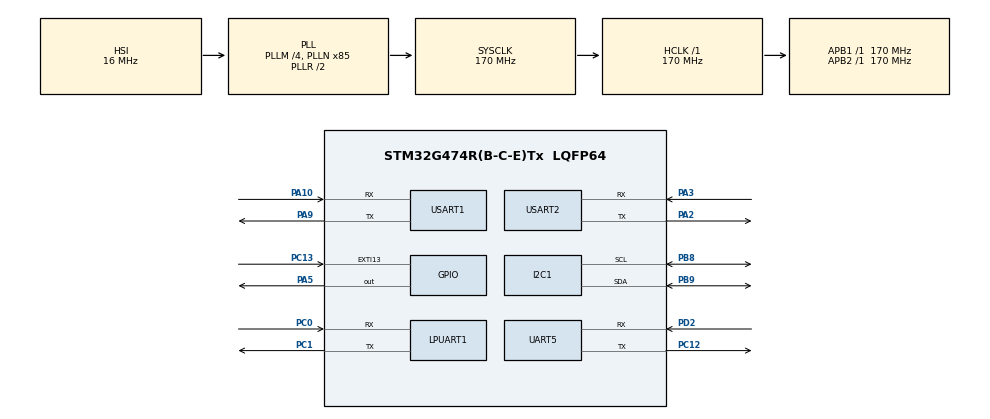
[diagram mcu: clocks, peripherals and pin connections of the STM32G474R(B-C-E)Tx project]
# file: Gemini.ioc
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I2C1.Timing=0x40B285C2
Mcu.Family=STM32G4
Mcu.Name=STM32G474R(B-C-E)Tx
Mcu.Package=LQFP64
NUCLEO-G474RE.BUTTON=1
NUCLEO-G474RE.LD2=true
NUCLEO-G474RE.VCP=false
NVIC.EXTI15_10_IRQn=true\:0\:0\:false\:false\:true\:true\:true\:true
NVIC.PriorityGroup=NVIC_PRIORITYGROUP_4
NVIC.UART5_IRQn=true\:0\:0\:false\:false\:true\:true\:true\:true
NVIC.USART1_IRQn=true\:0\:0\:false\:false\:true\:true\:true\:true
PA10.GPIO_Speed=GPIO_SPEED_FREQ_HIGH
PA10.Mode=Asynchronous
PA10.Signal=USART1_RX
PA13.GPIO_Label=T_SWDIO
PA13.Signal=SYS_JTMS-SWDIO
PA14.GPIO_Label=T_SWCLK
PA14.Signal=SYS_JTCK-SWCLK
PA2.Mode=Asynchronous
PA2.Signal=USART2_TX
PA3.Mode=Asynchronous
PA3.Signal=USART2_RX
PA5.Signal=GPIO_Output
PA9.GPIO_Speed=GPIO_SPEED_FREQ_HIGH
PA9.Mode=Asynchronous
PA9.Signal=USART1_TX
PB3.GPIO_Label=T_SWO
PB3.Signal=SYS_JTDO-SWO
PB8-BOOT0.GPIO_Pu=GPIO_NOPULL
PB8-BOOT0.Mode=I2C
PB8-BOOT0.Signal=I2C1_SCL
PB9.GPIO_Pu=GPIO_NOPULL
PB9.Mode=I2C
PB9.Signal=I2C1_SDA
PC0.Mode=Asynchronous
PC0.Signal=LPUART1_RX
PC1.Mode=Asynchronous
PC1.Signal=LPUART1_TX
PC12.Mode=Asynchronous
PC12.Signal=UART5_TX
PC13.Signal=GPXTI13
PC14-OSC32_IN.GPIO_Label=RCC_OSC32_IN
PC14-OSC32_IN.Mode=LSE-External-Oscillator
PC14-OSC32_IN.Signal=RCC_OSC32_IN
PC15-OSC32_OUT.GPIO_Label=RCC_OSC32_OUT
PC15-OSC32_OUT.Mode=LSE-External-Oscillator
PC15-OSC32_OUT.Signal=RCC_OSC32_OUT
PD2.Mode=Asynchronous
PD2.Signal=UART5_RX
PF0-OSC_IN.GPIO_Label=RCC_OSC_IN
PF0-OSC_IN.Mode=HSE-External-Oscillator
PF0-OSC_IN.Signal=RCC_OSC_IN
PF1-OSC_OUT.GPIO_Label=RCC_OSC_OUT
PF1-OSC_OUT.Mode=HSE-External-Oscillator
PF1-OSC_OUT.Signal=RCC_OSC_OUT
ProjectManager.HeapSize=0x200
ProjectManager.StackSize=0x400
ProjectManager.TargetToolchain=STM32CubeIDE
RCC.ADC12Freq_Value=170000000
RCC.ADC345Freq_Value=170000000
RCC.AHBFreq_Value=170000000
RCC.APB1Freq_Value=170000000
RCC.APB1TimFreq_Value=170000000
RCC.APB2Freq_Value=170000000
RCC.APB2TimFreq_Value=170000000
RCC.CortexFreq_Value=170000000
RCC.EXTERNAL_CLOCK_VALUE=12288000
RCC.HCLKFreq_Value=170000000
RCC.HSE_VALUE=24000000
RCC.HSI48_VALUE=48000000
RCC.HSI_VALUE=16000000
RCC.PLLM=RCC_PLLM_DIV4
RCC.PLLN=85
RCC.RTCClockSelection=RCC_RTCCLKSOURCE_LSE
RCC.SYSCLKFreq_VALUE=170000000
RCC.SYSCLKSource=RCC_SYSCLKSOURCE_PLLCLK
RCC.USBFreq_Value=170000000
RCC.VCOOutputFreq_Value=340000000
USART1.VirtualMode-Asynchronous=VM_ASYNC
USART2.VirtualMode-Asynchronous=VM_ASYNC
VP_NUCLEO-G474RE_VS_BSP_COMMON.Mode=COMMON
VP_SYS_VS_DBSignals.Mode=DisableDeadBatterySignals
board=NUCLEO-G474RE

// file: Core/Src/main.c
/* USER CODE BEGIN Header */
/**
  ******************************************************************************
  * @file           : main.c
  * @brief          : Main program body
  ******************************************************************************
  * @attention
  *
  * Copyright (c) 2025 STMicroelectronics.
  * All rights reserved.
  *
  * This software is licensed under terms that can be found in the LICENSE file
  * in the root directory of this software component.
  * If no LICENSE file comes with this software, it is provided AS-IS.
  *
  ******************************************************************************
  */
/* USER CODE END Header */
#include "main.h"

/* USER CODE BEGIN Includes */
#include <string.h>
#include <stdio.h>
#include "ssd1306/ssd1306.h"
#include "ssd1306/ssd1306_fonts.h"
/* USER CODE END Includes */

/* USER CODE BEGIN PD */
#define REG_TEMP		   0x00
#define REG_CONF           0x01
#define REG_THYST          0x02
#define REG_TOS            0x03
#define LM75A_TEMP_TO_REG(T) \
    ((uint16_t)((int16_t)roundf((T) * 2.0f)) << 7)

/* USER CODE END PD */

I2C_HandleTypeDef hi2c1;

UART_HandleTypeDef hlpuart1;
UART_HandleTypeDef huart5;
UART_HandleTypeDef huart1;
UART_HandleTypeDef huart2;

/* USER CODE BEGIN PV */
static const uint8_t LM75A = 0x48 << 1;

// Stati del sistema
typedef enum {
    STATE_NORMAL,
    STATE_WAIT_RESPONSE,
    STATE_RESPONSE_RECEIVED,
    STATE_POST_RESPONSE_WAIT
} SystemState_t;

volatile SystemState_t system_state = STATE_NORMAL;
volatile uint8_t rx_data_ready = 1;
uint8_t  rxBuf[8];
uint32_t postResponseTick;

static const char alarmMsg[] = "FRALRM\r\n";
static const uint8_t alarmLen = sizeof(alarmMsg) - 1;  // 13

/* USER CODE END PV */

void SystemClock_Config(void);
static void MX_GPIO_Init(void);
static void MX_I2C1_Init(void);
static void MX_USART2_UART_Init(void);
static void MX_USART1_UART_Init(void);
static void MX_UART5_Init(void);
static void MX_LPUART1_UART_Init(void);

/* USER CODE BEGIN 0 */

// Routine per scrivere un byte
static HAL_StatusTypeDef LM75A_WriteByte(uint8_t reg, uint8_t data) {
    return HAL_I2C_Mem_Write(
        &hi2c1,
        LM75A,
        reg,
        I2C_MEMADD_SIZE_8BIT,
        &data,
        1,
        100  /* timeout ms */
    );
}

// Routine per scrivere due byte
static HAL_StatusTypeDef LM75A_WriteWord(uint8_t reg, uint16_t value) {
    uint8_t buf[2];
    buf[0] = (value >> 8) & 0xFF;  // MSB
    buf[1] = value & 0xFF;         // LSB (“don’t care” bits = 0)
    return HAL_I2C_Mem_Write(
        &hi2c1,
        LM75A,
        reg,
        I2C_MEMADD_SIZE_8BIT,
        buf,
        2,
        100
    );
}

// Routine di configurazione LM75A
void LM75A_Init(void) {
    HAL_StatusTypeDef ret;

    /* 1) Config register:
         *    OS_F_QUE = 10 (4 conversions) → B4=1, B3=0
         *    OS_POL   = 1 (active-high)   → B2=1
         *    OS_COMP_INT = 1 (interrupt)  → B1=1
         *    SHUTDOWN    = 0 (normal)     → B0=0
         *    byte = 0b0001_0110 = 0x16
    */

	ret = LM75A_WriteByte(REG_CONF, 0x16);
	if (ret != HAL_OK) { Error_Handler(); }

    /* 2) TOS = 35°C ⇒ 35/0.5 = 70 = 0x46 */
    /*    value register = 0x46 << 8 = 0x4600 */

	// Temperatura per prova: 32 °C / 0.5 °C = 64  → 0x40
	uint16_t temp_max = LM75A_TEMP_TO_REG(30.0f);
    ret = LM75A_WriteWord(REG_TOS, temp_max);
    if (ret != HAL_OK) { Error_Handler(); }

    /* 3) THYST = 30°C ⇒ 30/0.5 = 60 = 0x3C ⇒ 0x3C00 */
    uint16_t temp_min = LM75A_TEMP_TO_REG(28.0f);
    ret = LM75A_WriteWord(REG_THYST, temp_min);
    if (ret != HAL_OK) { Error_Handler(); }
}

/*
// Ridefinizione funzione di CallBack interrupt su EXTI0
void HAL_GPIO_EXTI_Callback(uint16_t GPIO_Pin) {
    if (GPIO_Pin == GPIO_PIN_0) {
        // Togliere l’interrupt leggendo un registro qualunque (ad es. Temp)
    	char temp_s[10];
    	uint8_t msg[32];
        uint8_t temp_raw[2];
        int len;
        if (HAL_I2C_Mem_Read(&hi2c1, LM75A, 0x00, I2C_MEMADD_SIZE_8BIT, temp_raw, 2, 100) == HAL_OK) {
            int16_t raw = (temp_raw[0] << 8) | temp_raw[1];
            // float temp = raw * 0.0078125f;  // 1/128
            raw = raw >> 5;
            float temp = (float)raw * 0.125f;

            // gestisci l’allerta…
            len = snprintf((char*)msg, sizeof(msg), "Interruzione: %.2f C\r\n", temp);
            HAL_UART_Transmit(&huart2, msg, len, HAL_MAX_DELAY);
            // HAL_Delay(1000);

            sprintf(temp_s, "%.2f", temp);
            ssd1306_SetCursor(2, 32);
			ssd1306_WriteString(temp_s, Font_6x8, Black);
			ssd1306_UpdateScreen();

        }
    }
}*/

// Ridefinizione Callback di ricezione UART (interrupt)
void HAL_UART_RxCpltCallback(UART_HandleTypeDef *huart) {
    // if (huart->Instance == USART1 && system_state == STATE_WAIT_RESPONSE) {
	// if (huart->Instance == USART1) {
	if (huart->Instance == USART1) {
        // terminatore stringa
        //rxBuf[8] = '\0';
        system_state = STATE_RESPONSE_RECEIVED;
        rx_data_ready = 1;

        // Preparazione USART prossima ricezione
        HAL_UART_Receive_IT(&huart1, rxBuf, 8);
    }
}
/* USER CODE END 0 */

int main(void)
{

  /* USER CODE BEGIN 1 */
  uint8_t buf[12];
  HAL_StatusTypeDef ret, check;
  int16_t val;
  float temp_c;
  uint8_t msg[32];
  int len;
  uint8_t data_read[2];
  char temp_s[10];
  int cont = 0;
  float soglia = 30.0f;
  /* USER CODE END 1 */

  /* MCU Configuration--------------------------------------------------------*/

  /* Reset of all peripherals, Initializes the Flash interface and the Systick. */
  HAL_Init();

  /* Configure the system clock */
  SystemClock_Config();

  /* Initialize all configured peripherals */
  MX_GPIO_Init();
  MX_I2C1_Init();
  MX_USART2_UART_Init();
  MX_USART1_UART_Init();
  MX_UART5_Init();
  MX_LPUART1_UART_Init();
  /* USER CODE BEGIN 2 */
  HAL_NVIC_SetPriority(USART1_IRQn, 1, 0);
  HAL_NVIC_EnableIRQ(USART1_IRQn);

  // Preparazione USART
  // __HAL_UART_ENABLE_IT(&huart1,UART_IT_RXNE);
  HAL_UART_Receive_IT(&huart1, rxBuf, 8);
  LM75A_Init();
  ssd1306_Init();

  /* USER CODE END 2 */

  /* Initialize led */
  BSP_LED_Init(LED_GREEN);

  /* Initialize USER push-button, will be used to trigger an interrupt each time it's pressed.*/
  BSP_PB_Init(BUTTON_USER, BUTTON_MODE_EXTI);

  /* Infinite loop */
  /* USER CODE BEGIN WHILE */
  while (1)
  {
	  //HAL_UART_Transmit(&huart1, (uint8_t*)alarmMsg, 9, HAL_MAX_DELAY);

	  if (rx_data_ready == 1){

		  rx_data_ready = 0;

		  if (system_state == STATE_WAIT_RESPONSE){
			  system_state = STATE_RESPONSE_RECEIVED;
		  }
	  }

	  switch(system_state) {

	              case STATE_NORMAL: {
	                  // Modalità normale: leggo e stampo la temperatura
	                  uint8_t cmd = REG_TEMP;
	                  if (HAL_I2C_Master_Transmit(&hi2c1, LM75A, &cmd, 1, HAL_MAX_DELAY) == HAL_OK) {
	                      uint8_t data[2];
	                      if (HAL_I2C_Master_Receive(&hi2c1, LM75A, data, 2, HAL_MAX_DELAY) == HAL_OK) {
	                          int16_t raw = ((int16_t)data[0] << 8) | data[1];
	                          raw >>= 5;
	                          float temp = raw * 0.125f;
	                          char temp_s[16];
	                          snprintf(temp_s, sizeof(temp_s), "T: %.2f C", temp);

	                          ssd1306_Fill(Black);
	                          ssd1306_SetCursor(2, 2);
	                          ssd1306_WriteString("Temperatura corrente:", Font_6x8, White);
	                          ssd1306_SetCursor(2, 20);
	                          ssd1306_WriteString(temp_s, Font_7x10, Black);
	                          ssd1306_UpdateScreen();

	                          if (temp > soglia){
	                        	  cont ++;
	                        	  if (cont == 4){
	                        		  cont = 0;
	                        		  // Invio l'allarme e lo stampo
									  // const char alarmMsg[] = "ALLARME Fratm\r\n";

	                        		  HAL_UART_Transmit(&huart1, (uint8_t*)alarmMsg, 8, HAL_MAX_DELAY);

									  ssd1306_Fill(Black);
									  ssd1306_SetCursor(2, 20);
									  ssd1306_WriteString("ALLARME INCENDIO", Font_7x10, White);
									  ssd1306_UpdateScreen();

									  // passo a stato di attesa risposta
									  system_state = STATE_WAIT_RESPONSE;
	                        	  }
	                          }
	                          else{
	                        	  cont = 0;
	                          }
	                      }
	                  }
	                  HAL_Delay(100);
	                  break;
	              }

	              /*
	              case STATE_ALARM_SENT: {
	                  // Invio l'allarme e lo stampo
	                  // const char alarmMsg[] = "ALLARME INCENDIO\r\n";

	                  HAL_UART_Transmit(&huart1, (uint8_t*)alarmMsg, 9, HAL_MAX_DELAY);
	                  // HAL_UART_Receive_IT(&huart1, rxBuf, 9);

	                  ssd1306_Fill(Black);
	                  ssd1306_SetCursor(2, 20);
	                  ssd1306_WriteString("ALLARME INCENDIO", Font_7x10, White);
	                  ssd1306_UpdateScreen();

	                  // passo a stato di attesa risposta
	                  // system_state = STATE_WAIT_RESPONSE;
	                  break;
	              }
	  	  	  	  */

	              case STATE_WAIT_RESPONSE: {

	                  uint8_t cmd = REG_TEMP;
					  if (HAL_I2C_Master_Transmit(&hi2c1, LM75A, &cmd, 1, HAL_MAX_DELAY) == HAL_OK) {
						  uint8_t data[2];
						  if (HAL_I2C_Master_Receive(&hi2c1, LM75A, data, 2, HAL_MAX_DELAY) == HAL_OK) {
							  int16_t raw = ((int16_t)data[0] << 8) | data[1];
							  raw >>= 5;
							  float temp = raw * 0.125f;
							  char temp_s[16];
							  snprintf(temp_s, sizeof(temp_s), "T: %.2f C", temp);

							  ssd1306_SetCursor(40, 45);
							  ssd1306_WriteString(temp_s, Font_7x10, Black);
							  ssd1306_UpdateScreen();

						  }
					  }
					  HAL_Delay(100);
					  break;
	              }

	              case STATE_RESPONSE_RECEIVED: {
	                  // Appena arriva la risposta UART (gestita in RxCpltCallback)
	                  ssd1306_Fill(Black);
	                  ssd1306_SetCursor(2, 12);
	                  ssd1306_WriteString((char*)rxBuf, Font_6x8, Black);
	                  ssd1306_UpdateScreen();

	                  // inizio conteggio 5 secondi
	                  postResponseTick = HAL_GetTick();
	                  system_state = STATE_POST_RESPONSE_WAIT;
	                  break;
	              }

	              case STATE_POST_RESPONSE_WAIT: {
	                  // Aspetto 5 secondi
	                  if ((HAL_GetTick() - postResponseTick) >= 5000) {
	                      system_state = STATE_NORMAL;
	                  }
	                  break;
	              }

	              default: {
	            	  break;
	              }

	          }

/*
	  ssd1306_SetCursor(2, 2);
	  ssd1306_WriteString("Temperatura corrente:", Font_6x8, White);
	  ssd1306_UpdateScreen();

	  // ssd1306_Fill(White);
	  // ssd1306_UpdateScreen();

	  buf[0] = REG_TEMP;
	  check = HAL_I2C_IsDeviceReady(&hi2c1, LM75A, 5, HAL_MAX_DELAY);
	  ret = HAL_I2C_Master_Transmit(&hi2c1, LM75A, buf, 1, HAL_MAX_DELAY);
	  if( ret != HAL_OK){
		 strcpy((char*)buf, "Error Tx\r\n");
		} else{
			ret = HAL_I2C_Master_Receive(&hi2c1, LM75A, data_read, 2, HAL_MAX_DELAY); // <--- AGGIUNTA FONDAMENTALE QUI!

			if (ret != HAL_OK) {
				strcpy((char*)buf, "Error Rx\r\n"); // Gestione errore di ricezione
			} else {
				// I dati di temperatura sono in data_read[0] (MSB) e data_read[1] (LSB)
				val = (int16_t)((data_read[0] << 8) | data_read[1]);

				// Shift a destra di 5 per ottenere i 11 bit significativi e l'estensione del segno
				val = val >> 5;

				// Calcolo della temperatura (1 LSB = 0.125°C)
				temp_c = (float)val * 0.125f;

				// Ora 'temp_c' contiene la temperatura corretta.
				// Formatta la stringa per la UART
				len = snprintf((char*)msg, sizeof(msg), "Temp: %.2f C\r\n", temp_c);
				HAL_UART_Transmit(&huart2, msg, len, HAL_MAX_DELAY);
				HAL_Delay(100);

				sprintf(temp_s, "%.2f", temp_c);
				ssd1306_SetCursor(2, 30);
				ssd1306_WriteString(temp_s, Font_7x10, Black);
				ssd1306_UpdateScreen();

				if (temp_c > soglia) {
					cont++;
					if (cont == 4){
						len = snprintf((char*)msg, sizeof(msg), "INTERRUZIONE: %.2f C\r\n", temp_c);
						HAL_UART_Transmit(&huart2, msg, len, HAL_MAX_DELAY);
						cont = 0;

						ssd1306_Fill(Black);
						ssd1306_UpdateScreen();
						ssd1306_SetCursor(2, 20);
						ssd1306_WriteString("ALLARME INCENDIO", Font_7x10, White);
						ssd1306_UpdateScreen();
						HAL_Delay(10000);
						ssd1306_Fill(Black);
						ssd1306_UpdateScreen();
					}
				}
				else{
					cont = 0;
				}

			}
		}

    /* USER CODE END WHILE */

  }
}

void SystemClock_Config(void)
{
  RCC_OscInitTypeDef RCC_OscInitStruct = {0};
  RCC_ClkInitTypeDef RCC_ClkInitStruct = {0};

  /** Configure the main internal regulator output voltage
  */
  HAL_PWREx_ControlVoltageScaling(PWR_REGULATOR_VOLTAGE_SCALE1_BOOST);

  /** Initializes the RCC Oscillators according to the specified parameters
  * in the RCC_OscInitTypeDef structure.
  */
  RCC_OscInitStruct.OscillatorType = RCC_OSCILLATORTYPE_HSI;
  RCC_OscInitStruct.HSIState = RCC_HSI_ON;
  RCC_OscInitStruct.HSICalibrationValue = RCC_HSICALIBRATION_DEFAULT;
  RCC_OscInitStruct.PLL.PLLState = RCC_PLL_ON;
  RCC_OscInitStruct.PLL.PLLSource = RCC_PLLSOURCE_HSI;
  RCC_OscInitStruct.PLL.PLLM = RCC_PLLM_DIV4;
  RCC_OscInitStruct.PLL.PLLN = 85;
  RCC_OscInitStruct.PLL.PLLP = RCC_PLLP_DIV2;
  RCC_OscInitStruct.PLL.PLLQ = RCC_PLLQ_DIV2;
  RCC_OscInitStruct.PLL.PLLR = RCC_PLLR_DIV2;
  if (HAL_RCC_OscConfig(&RCC_OscInitStruct) != HAL_OK)
  {
    Error_Handler();
  }

  /** Initializes the CPU, AHB and APB buses clocks
  */
  RCC_ClkInitStruct.ClockType = RCC_CLOCKTYPE_HCLK|RCC_CLOCKTYPE_SYSCLK
                              |RCC_CLOCKTYPE_PCLK1|RCC_CLOCKTYPE_PCLK2;
  RCC_ClkInitStruct.SYSCLKSource = RCC_SYSCLKSOURCE_PLLCLK;
  RCC_ClkInitStruct.AHBCLKDivider = RCC_SYSCLK_DIV1;
  RCC_ClkInitStruct.APB1CLKDivider = RCC_HCLK_DIV1;
  RCC_ClkInitStruct.APB2CLKDivider = RCC_HCLK_DIV1;

  if (HAL_RCC_ClockConfig(&RCC_ClkInitStruct, FLASH_LATENCY_4) != HAL_OK)
  {
    Error_Handler();
  }
}

static void MX_I2C1_Init(void)
{

  hi2c1.Instance = I2C1;
  hi2c1.Init.Timing = 0x40B285C2;
  hi2c1.Init.OwnAddress1 = 0;
  hi2c1.Init.AddressingMode = I2C_ADDRESSINGMODE_7BIT;
  hi2c1.Init.DualAddressMode = I2C_DUALADDRESS_DISABLE;
  hi2c1.Init.OwnAddress2 = 0;
  hi2c1.Init.OwnAddress2Masks = I2C_OA2_NOMASK;
  hi2c1.Init.GeneralCallMode = I2C_GENERALCALL_DISABLE;
  hi2c1.Init.NoStretchMode = I2C_NOSTRETCH_DISABLE;
  if (HAL_I2C_Init(&hi2c1) != HAL_OK)
  {
    Error_Handler();
  }

  /** Configure Analogue filter
  */
  if (HAL_I2CEx_ConfigAnalogFilter(&hi2c1, I2C_ANALOGFILTER_ENABLE) != HAL_OK)
  {
    Error_Handler();
  }

  /** Configure Digital filter
  */
  if (HAL_I2CEx_ConfigDigitalFilter(&hi2c1, 0) != HAL_OK)
  {
    Error_Handler();
  }

}

static void MX_LPUART1_UART_Init(void)
{

  hlpuart1.Instance = LPUART1;
  hlpuart1.Init.BaudRate = 209700;
  hlpuart1.Init.WordLength = UART_WORDLENGTH_8B;
  hlpuart1.Init.StopBits = UART_STOPBITS_1;
  hlpuart1.Init.Parity = UART_PARITY_NONE;
  hlpuart1.Init.Mode = UART_MODE_TX_RX;
  hlpuart1.Init.HwFlowCtl = UART_HWCONTROL_NONE;
  hlpuart1.Init.OneBitSampling = UART_ONE_BIT_SAMPLE_DISABLE;
  hlpuart1.Init.ClockPrescaler = UART_PRESCALER_DIV1;
  hlpuart1.AdvancedInit.AdvFeatureInit = UART_ADVFEATURE_NO_INIT;
  if (HAL_UART_Init(&hlpuart1) != HAL_OK)
  {
    Error_Handler();
  }
  if (HAL_UARTEx_SetTxFifoThreshold(&hlpuart1, UART_TXFIFO_THRESHOLD_1_8) != HAL_OK)
  {
    Error_Handler();
  }
  if (HAL_UARTEx_SetRxFifoThreshold(&hlpuart1, UART_RXFIFO_THRESHOLD_1_8) != HAL_OK)
  {
    Error_Handler();
  }
  if (HAL_UARTEx_DisableFifoMode(&hlpuart1) != HAL_OK)
  {
    Error_Handler();
  }

}

static void MX_UART5_Init(void)
{

  huart5.Instance = UART5;
  huart5.Init.BaudRate = 115200;
  huart5.Init.WordLength = UART_WORDLENGTH_8B;
  huart5.Init.StopBits = UART_STOPBITS_1;
  huart5.Init.Parity = UART_PARITY_NONE;
  huart5.Init.Mode = UART_MODE_TX_RX;
  huart5.Init.HwFlowCtl = UART_HWCONTROL_NONE;
  huart5.Init.OverSampling = UART_OVERSAMPLING_16;
  huart5.Init.OneBitSampling = UART_ONE_BIT_SAMPLE_DISABLE;
  huart5.Init.ClockPrescaler = UART_PRESCALER_DIV1;
  huart5.AdvancedInit.AdvFeatureInit = UART_ADVFEATURE_NO_INIT;
  if (HAL_UART_Init(&huart5) != HAL_OK)
  {
    Error_Handler();
  }
  if (HAL_UARTEx_SetTxFifoThreshold(&huart5, UART_TXFIFO_THRESHOLD_1_8) != HAL_OK)
  {
    Error_Handler();
  }
  if (HAL_UARTEx_SetRxFifoThreshold(&huart5, UART_RXFIFO_THRESHOLD_1_8) != HAL_OK)
  {
    Error_Handler();
  }
  if (HAL_UARTEx_DisableFifoMode(&huart5) != HAL_OK)
  {
    Error_Handler();
  }

}

static void MX_USART1_UART_Init(void)
{

  huart1.Instance = USART1;
  huart1.Init.BaudRate = 115200;
  huart1.Init.WordLength = UART_WORDLENGTH_8B;
  huart1.Init.StopBits = UART_STOPBITS_1;
  huart1.Init.Parity = UART_PARITY_NONE;
  huart1.Init.Mode = UART_MODE_TX_RX;
  huart1.Init.HwFlowCtl = UART_HWCONTROL_NONE;
  huart1.Init.OverSampling = UART_OVERSAMPLING_16;
  huart1.Init.OneBitSampling = UART_ONE_BIT_SAMPLE_DISABLE;
  huart1.Init.ClockPrescaler = UART_PRESCALER_DIV1;
  huart1.AdvancedInit.AdvFeatureInit = UART_ADVFEATURE_NO_INIT;
  if (HAL_UART_Init(&huart1) != HAL_OK)
  {
    Error_Handler();
  }
  if (HAL_UARTEx_SetTxFifoThreshold(&huart1, UART_TXFIFO_THRESHOLD_1_8) != HAL_OK)
  {
    Error_Handler();
  }
  if (HAL_UARTEx_SetRxFifoThreshold(&huart1, UART_RXFIFO_THRESHOLD_1_8) != HAL_OK)
  {
    Error_Handler();
  }
  if (HAL_UARTEx_DisableFifoMode(&huart1) != HAL_OK)
  {
    Error_Handler();
  }

}

static void MX_USART2_UART_Init(void)
{

  huart2.Instance = USART2;
  huart2.Init.BaudRate = 115200;
  huart2.Init.WordLength = UART_WORDLENGTH_8B;
  huart2.Init.StopBits = UART_STOPBITS_1;
  huart2.Init.Parity = UART_PARITY_NONE;
  huart2.Init.Mode = UART_MODE_TX_RX;
  huart2.Init.HwFlowCtl = UART_HWCONTROL_NONE;
  huart2.Init.OverSampling = UART_OVERSAMPLING_16;
  huart2.Init.OneBitSampling = UART_ONE_BIT_SAMPLE_DISABLE;
  huart2.Init.ClockPrescaler = UART_PRESCALER_DIV1;
  huart2.AdvancedInit.AdvFeatureInit = UART_ADVFEATURE_NO_INIT;
  if (HAL_UART_Init(&huart2) != HAL_OK)
  {
    Error_Handler();
  }
  if (HAL_UARTEx_SetTxFifoThreshold(&huart2, UART_TXFIFO_THRESHOLD_1_8) != HAL_OK)
  {
    Error_Handler();
  }
  if (HAL_UARTEx_SetRxFifoThreshold(&huart2, UART_RXFIFO_THRESHOLD_1_8) != HAL_OK)
  {
    Error_Handler();
  }
  if (HAL_UARTEx_DisableFifoMode(&huart2) != HAL_OK)
  {
    Error_Handler();
  }

}

static void MX_GPIO_Init(void)
{

  /* GPIO Ports Clock Enable */
  __HAL_RCC_GPIOC_CLK_ENABLE();
  __HAL_RCC_GPIOF_CLK_ENABLE();
  __HAL_RCC_GPIOA_CLK_ENABLE();
  __HAL_RCC_GPIOD_CLK_ENABLE();
  __HAL_RCC_GPIOB_CLK_ENABLE();

}

void Error_Handler(void)
{
  __disable_irq();
  while (1)
  {
  }
}
